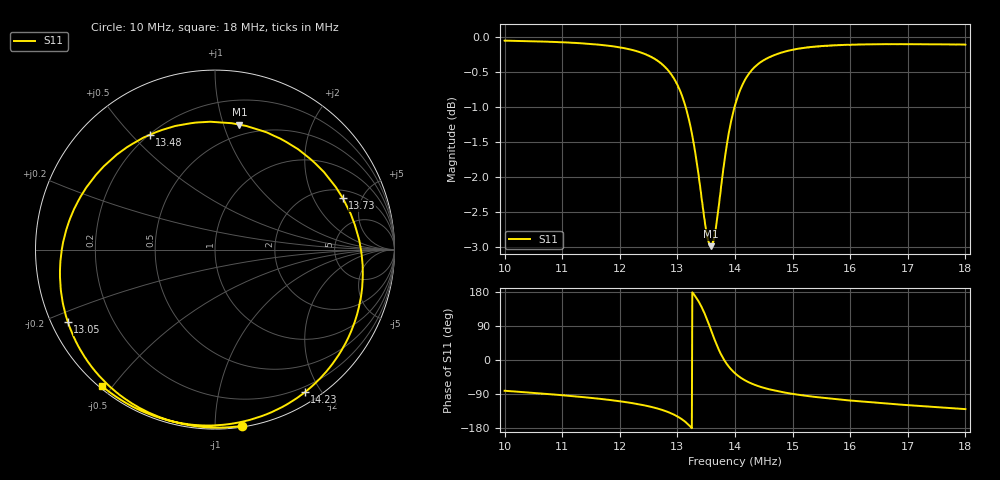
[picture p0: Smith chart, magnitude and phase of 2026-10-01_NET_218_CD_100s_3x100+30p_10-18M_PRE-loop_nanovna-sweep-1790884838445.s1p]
! NanoVNA Web complex sweep
! Processing: unaveraged complex samples; linear segment spacing; no smoothing
# Hz S RI R 50
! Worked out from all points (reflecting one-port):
!   1010 points, 10 MHz to 18 MHz, reference 50 ohm
!   lowest |S11| = -3.0 dB at 13.58 MHz (marker M1), VSWR 5.87, Z = 20.2 + j56.5 ohm
!   phase of S11 starts at -81 deg and turns -408 deg over the sweep
!   S11 on the Smith chart (normalised r, x): 10 MHz: 0.01, -1.17; 13.05 MHz: 0.05, -0.23; 13.48 MHz: 0.20, +0.56; 13.73 MHz: 2.47, +3.46; 14.23 MHz: 0.13, -1.80; 18 MHz: 0.01, -0.47
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1e7  0.1518 -0.9821
1.100698e7  -0.0517 -0.9897
1.200604e7  -0.3203 -0.9291
1.234698e7  -0.4474 -0.8665
1.26245e7  -0.5768 -0.7718
1.283858e7  -0.6956 -0.6414
1.300509e7  -0.7945 -0.4705
1.305266e7  -0.82 -0.4037
1.320332e7  -0.8638 -0.1173
1.330639e7  -0.8139 0.1556
1.339361e7  -0.6626 0.4171
1.348083e7  -0.3629 0.6395
1.353633e7  -0.1061 0.7079
1.358391e7  0.1355 0.696
1.36632e7  0.4954 0.5334
1.373456e7  0.7113 0.2885
1.379006e7  0.7961 0.0791
1.384556e7  0.823 -0.1139
1.392486e7  0.7956 -0.3452
1.400414e7  0.7282 -0.5198
1.410722e7  0.6212 -0.6786
1.422616e7  0.5 -0.795
1.451953e7  0.2605 -0.9276
1.50032e7  0.00908 -0.979
1.545515e7  -0.1473 -0.9734
1.600225e7  -0.2879 -0.9437
1.700131e7  -0.4815 -0.8627
1.800036e7  -0.6293 -0.7606
